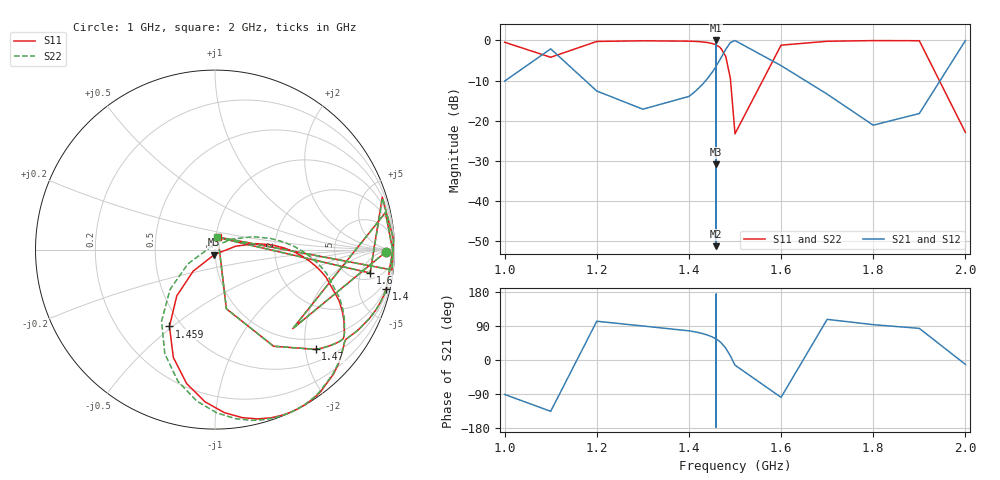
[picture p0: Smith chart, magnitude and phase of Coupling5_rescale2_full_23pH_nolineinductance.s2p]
! Sonnet Data File
! From: emclient Version : 13.56
! From Project: Coupling5_rescale2_full_23pH_nolineinductance
! Data is De-embedded
! Data File Written: 06/30/2014 09:54:47
!< HDATE 06/16/2014 12:42:39
!< MDATE 06/16/2014 12:52:41
# GHZ S RI R 0.020000
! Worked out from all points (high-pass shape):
!   101 points, 1 GHz to 2 GHz, reference 0.02 ohm
!   highest |S21| = 0.00 dB at 1.459 GHz (marker M1); lowest = -51.2 dB at 1.459 GHz (marker M2)
!   |S21| within 3 dB of the highest: 1.459245 GHz to 1.459266 GHz (21.24 kHz wide, 0.00146 % of centre); 1.476 GHz to 1.548 GHz (71.72 MHz wide, 4.74 % of centre)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
!   lowest |S11| = -30.8 dB at 1.459 GHz (marker M3), VSWR 1.06, Z = 0.0198 - j0.00113 ohm
!   |S11| at or under -10 dB: 1.459247 GHz to 1.459252 GHz (4.957 kHz wide, 0.00034 % of centre); 1.49 GHz to 1.56 GHz (69.59 MHz wide, 4.56 % of centre); 1.944 GHz to end of sweep
!   |S22| runs from -30.8 to 0.0 dB; largest |S21 - S12| = 1.8e-11
!   S11 on the Smith chart (normalised r, x): 1 GHz: 36, -11; 1.4 GHz: 0.80, -8.70; 1.459 GHz: 0.43, -0.49; 1.47 GHz: 0.75, -2.22; 1.6 GHz: 6.66, -7.35; 2 GHz: 1.02, +0.14
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1  0.9502 -0.0143  -0.00468 -0.3114  -0.00468 -0.3114  0.9502 -0.0143
!< P1 F=1.0 Eeff=(undefined: mp) Z0=(undefined: mp) R=0.0 C=0.0
!< P2 F=1.0 Eeff=(undefined: mp) Z0=(undefined: mp) R=0.0 C=0.0
1.1  0.4334 -0.44  -0.5603 -0.5519  -0.5603 -0.5519  0.4334 -0.44
1.2  0.9499 0.2066  -0.0499 0.2293  -0.0499 0.2293  0.9499 0.2066
1.4  0.9544 -0.2204  0.0453 0.1959  0.0453 0.1959  0.9544 -0.2205
1.4589  0.7225 -0.5134  0.2685 0.3774  0.2685 0.3774  0.722 -0.5141
1.45921  0.6852 -0.6427  0.2355 0.249  0.2355 0.249  0.6797 -0.6485
1.459232  0.5613 -0.8175  0.1071 0.072  0.1071 0.072  0.5454 -0.8282
1.459235  0.4927 -0.8692  0.0362 0.02  0.0362 0.02  0.4721 -0.8806
1.459236  0.4599 -0.888  0.00246 0.00123  0.00246 0.00123  0.4374 -0.8993
1.459237  0.4201 -0.9065  -0.0385 -0.0172  -0.0385 -0.0172  0.3952 -0.9176
1.459238  0.3714 -0.9236  -0.0885 -0.0341  -0.0885 -0.0341  0.3437 -0.9343
1.459246  -0.2538 -0.4282  -0.7217 0.4811  -0.7217 0.4811  -0.2976 -0.399
1.459249  -0.00429 -0.0285  -0.4611 0.8869  -0.4611 0.8869  -0.0258 0.0129
1.459252  0.3124 0.0271  -0.1363 0.9397  -0.1363 0.9397  0.3072 0.0627
1.45926  0.6192 -0.1549  0.1755 0.7495  0.1755 0.7495  0.6236 -0.1361
1.4594  0.7206 -0.4662  0.2784 0.4312  0.2784 0.4312  0.7216 -0.4647
1.47  0.5611 -0.5558  0.4317 0.4358  0.4317 0.4358  0.5611 -0.5558
1.5  0.0163 0.067  0.9693 -0.2361  0.9693 -0.2361  0.0163 0.067
1.6  0.8641 -0.1305  -0.0726 -0.4807  -0.0726 -0.4807  0.8641 -0.1304
1.7  0.932 0.2921  -0.0637 0.2051  -0.0637 0.2051  0.9334 0.2873
1.9  0.9859 -0.1131  0.014 0.1224  0.014 0.1224  0.9859 -0.1131
2  0.0149 0.0702  0.9772 -0.2  0.9772 -0.2  0.0139 0.0704
